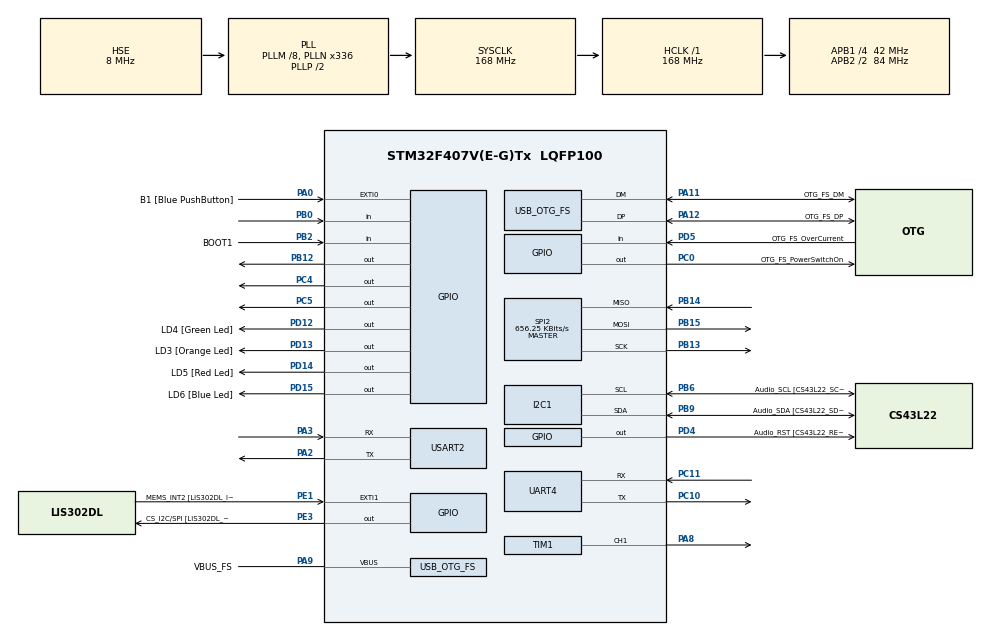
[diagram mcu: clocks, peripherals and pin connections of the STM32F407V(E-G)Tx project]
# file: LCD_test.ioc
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Dma.Request0=SPI2_TX
Dma.SPI2_TX.0.Direction=DMA_MEMORY_TO_PERIPH
Dma.SPI2_TX.0.FIFOMode=DMA_FIFOMODE_DISABLE
Dma.SPI2_TX.0.Instance=DMA1_Stream4
Dma.SPI2_TX.0.MemDataAlignment=DMA_MDATAALIGN_BYTE
Dma.SPI2_TX.0.MemInc=DMA_MINC_ENABLE
Dma.SPI2_TX.0.Mode=DMA_NORMAL
Dma.SPI2_TX.0.PeriphDataAlignment=DMA_PDATAALIGN_BYTE
Dma.SPI2_TX.0.PeriphInc=DMA_PINC_DISABLE
Dma.SPI2_TX.0.Priority=DMA_PRIORITY_LOW
Mcu.Family=STM32F4
Mcu.Name=STM32F407V(E-G)Tx
Mcu.Package=LQFP100
NVIC.DMA1_Stream4_IRQn=true\:0\:0\:false\:false\:true\:false\:true\:true
NVIC.OTG_FS_IRQn=true\:0\:0\:false\:false\:true\:true\:true\:true
NVIC.PriorityGroup=NVIC_PRIORITYGROUP_0
NVIC.USART2_IRQn=true\:0\:0\:false\:false\:true\:true\:true\:true
PA0-WKUP.GPIO_Label=B1 [Blue PushButton]
PA0-WKUP.GPIO_ModeDefaultEXTI=GPIO_MODE_EVT_RISING
PA0-WKUP.GPIO_PuPd=GPIO_NOPULL
PA0-WKUP.Signal=GPXTI0
PA10.GPIO_Label=OTG_FS_ID
PA10.GPIO_Mode=GPIO_MODE_AF_PP
PA10.GPIO_PuPd=GPIO_NOPULL
PA10.GPIO_Speed=GPIO_SPEED_FREQ_LOW
PA10.Signal=USB_OTG_FS_ID
PA11.GPIO_Label=OTG_FS_DM
PA11.GPIO_Mode=GPIO_MODE_AF_PP
PA11.GPIO_PuPd=GPIO_NOPULL
PA11.GPIO_Speed=GPIO_SPEED_FREQ_LOW
PA11.Mode=Host_Only
PA11.Signal=USB_OTG_FS_DM
PA12.GPIO_Label=OTG_FS_DP
PA12.GPIO_Mode=GPIO_MODE_AF_PP
PA12.GPIO_PuPd=GPIO_NOPULL
PA12.GPIO_Speed=GPIO_SPEED_FREQ_LOW
PA12.Mode=Host_Only
PA12.Signal=USB_OTG_FS_DP
PA13.GPIO_Label=SWDIO
PA13.Mode=Serial_Wire
PA13.Signal=SYS_JTMS-SWDIO
PA14.GPIO_Label=SWCLK
PA14.Mode=Serial_Wire
PA14.Signal=SYS_JTCK-SWCLK
PA2.Mode=Asynchronous
PA2.Signal=USART2_TX
PA3.Mode=Asynchronous
PA3.Signal=USART2_RX
PA4.GPIO_Label=I2S3_WS [CS43L22_LRCK]
PA4.GPIO_Mode=GPIO_MODE_AF_PP
PA4.GPIO_PuPd=GPIO_NOPULL
PA4.GPIO_Speed=GPIO_SPEED_FREQ_LOW
PA4.Signal=I2S3_WS
PA5.GPIO_Label=SPI1_SCK [LIS302DL_SCL/SPC]
PA5.GPIO_Mode=GPIO_MODE_AF_PP
PA5.GPIO_PuPd=GPIO_NOPULL
PA5.GPIO_Speed=GPIO_SPEED_FREQ_LOW
PA5.Signal=SPI1_SCK
PA6.GPIO_Label=SPI1_MISO [LIS302DL_SDO]
PA6.GPIO_Mode=GPIO_MODE_AF_PP
PA6.GPIO_PuPd=GPIO_NOPULL
PA6.GPIO_Speed=GPIO_SPEED_FREQ_LOW
PA6.Signal=SPI1_MISO
PA7.GPIO_Label=SPI1_MOSI [LIS302DL_SDA/SDI/SDO]
PA7.GPIO_Mode=GPIO_MODE_AF_PP
PA7.GPIO_PuPd=GPIO_NOPULL
PA7.GPIO_Speed=GPIO_SPEED_FREQ_LOW
PA7.Signal=SPI1_MOSI
PA8.Signal=S_TIM1_CH1
PA9.GPIO_Label=VBUS_FS
PA9.GPIO_Mode=GPIO_MODE_INPUT
PA9.GPIO_PuPd=GPIO_NOPULL
PA9.Mode=Activate_VBUS
PA9.Signal=USB_OTG_FS_VBUS
PB0.Signal=GPIO_Input
PB12.GPIO_Speed=GPIO_SPEED_FREQ_HIGH
PB12.PinState=GPIO_PIN_RESET
PB12.Signal=GPIO_Output
PB13.Mode=Full_Duplex_Master
PB13.Signal=SPI2_SCK
PB14.Mode=Full_Duplex_Master
PB14.Signal=SPI2_MISO
PB15.Mode=Full_Duplex_Master
PB15.Signal=SPI2_MOSI
PB2.GPIO_Label=BOOT1
PB2.GPIO_Mode=GPIO_MODE_INPUT
PB2.GPIO_PuPd=GPIO_NOPULL
PB2.Signal=GPIO_Input
PB3.GPIO_Label=SWO
PB3.Signal=SYS_JTDO-SWO
PB6.GPIO_Label=Audio_SCL [CS43L22_SCL]
PB6.GPIO_Mode=GPIO_MODE_AF_OD
PB6.GPIO_Pu=GPIO_PULLUP
PB6.GPIO_PuPd=GPIO_NOPULL
PB6.GPIO_Speed=GPIO_SPEED_FREQ_LOW
PB6.Mode=I2C
PB6.Signal=I2C1_SCL
PB9.GPIO_Label=Audio_SDA [CS43L22_SDA]
PB9.GPIO_Mode=GPIO_MODE_AF_OD
PB9.GPIO_Pu=GPIO_PULLUP
PB9.GPIO_PuPd=GPIO_NOPULL
PB9.GPIO_Speed=GPIO_SPEED_FREQ_LOW
PB9.Mode=I2C
PB9.Signal=I2C1_SDA
PC0.GPIO_Label=OTG_FS_PowerSwitchOn
PC0.GPIO_PuPd=GPIO_NOPULL
PC0.GPIO_Speed=GPIO_SPEED_FREQ_LOW
PC0.PinState=GPIO_PIN_SET
PC0.Signal=GPIO_Output
PC10.Mode=Asynchronous
PC10.Signal=UART4_TX
PC11.Mode=Asynchronous
PC11.Signal=UART4_RX
PC12.GPIO_Label=I2S3_SD [CS43L22_SDIN]
PC12.GPIO_Mode=GPIO_MODE_AF_PP
PC12.GPIO_PuPd=GPIO_NOPULL
PC12.GPIO_Speed=GPIO_SPEED_FREQ_LOW
PC12.Signal=I2S3_SD
PC14-OSC32_IN.GPIO_Label=PC14-OSC32_IN
PC14-OSC32_IN.Signal=RCC_OSC32_IN
PC15-OSC32_OUT.GPIO_Label=PC15-OSC32_OUT
PC15-OSC32_OUT.Signal=RCC_OSC32_OUT
PC4.GPIO_Speed=GPIO_SPEED_FREQ_LOW
PC4.PinState=GPIO_PIN_RESET
PC4.Signal=GPIO_Output
PC5.GPIO_Speed=GPIO_SPEED_FREQ_HIGH
PC5.PinState=GPIO_PIN_RESET
PC5.Signal=GPIO_Output
PC7.GPIO_Label=I2S3_MCK [CS43L22_MCLK]
PC7.GPIO_Mode=GPIO_MODE_AF_PP
PC7.GPIO_PuPd=GPIO_NOPULL
PC7.GPIO_Speed=GPIO_SPEED_FREQ_LOW
PC7.Signal=I2S3_MCK
PD12.GPIO_Label=LD4 [Green Led]
PD12.GPIO_PuPd=GPIO_NOPULL
PD12.GPIO_Speed=GPIO_SPEED_FREQ_LOW
PD12.Signal=GPIO_Output
PD13.GPIO_Label=LD3 [Orange Led]
PD13.GPIO_PuPd=GPIO_NOPULL
PD13.GPIO_Speed=GPIO_SPEED_FREQ_LOW
PD13.Signal=GPIO_Output
PD14.GPIO_Label=LD5 [Red Led]
PD14.GPIO_PuPd=GPIO_NOPULL
PD14.GPIO_Speed=GPIO_SPEED_FREQ_LOW
PD14.Signal=GPIO_Output
PD15.GPIO_Label=LD6 [Blue Led]
PD15.GPIO_PuPd=GPIO_NOPULL
PD15.GPIO_Speed=GPIO_SPEED_FREQ_LOW
PD15.Signal=GPIO_Output
PD4.GPIO_Label=Audio_RST [CS43L22_RESET]
PD4.GPIO_PuPd=GPIO_NOPULL
PD4.GPIO_Speed=GPIO_SPEED_FREQ_LOW
PD4.Signal=GPIO_Output
PD5.GPIO_Label=OTG_FS_OverCurrent
PD5.GPIO_Mode=GPIO_MODE_INPUT
PD5.GPIO_PuPd=GPIO_NOPULL
PD5.Signal=GPIO_Input
PE1.GPIO_Label=MEMS_INT2 [LIS302DL_INT2]
PE1.GPIO_ModeDefaultEXTI=GPIO_MODE_EVT_RISING
PE1.GPIO_PuPd=GPIO_NOPULL
PE1.Signal=GPXTI1
PE3.GPIO_Label=CS_I2C/SPI [LIS302DL_CS_I2C/SPI]
PE3.GPIO_PuPd=GPIO_NOPULL
PE3.GPIO_Speed=GPIO_SPEED_FREQ_LOW
PE3.Signal=GPIO_Output
PH0-OSC_IN.GPIO_Label=PH0-OSC_IN
PH0-OSC_IN.Mode=HSE-External-Clock-Source
PH0-OSC_IN.Signal=RCC_OSC_IN
PH1-OSC_OUT.GPIO_Label=PH1-OSC_OUT
PH1-OSC_OUT.Mode=HSE-External-Clock-Source
PH1-OSC_OUT.Signal=RCC_OSC_OUT
ProjectManager.HeapSize=0x200
ProjectManager.StackSize=0x400
ProjectManager.TargetToolchain=Makefile
RCC.48MHZClocksFreq_Value=48000000
RCC.AHBFreq_Value=168000000
RCC.APB1CLKDivider=RCC_HCLK_DIV4
RCC.APB1Freq_Value=42000000
RCC.APB1TimFreq_Value=84000000
RCC.APB2CLKDivider=RCC_HCLK_DIV2
RCC.APB2Freq_Value=84000000
RCC.APB2TimFreq_Value=168000000
RCC.CortexFreq_Value=168000000
RCC.HCLKFreq_Value=168000000
RCC.HSE_VALUE=8000000
RCC.HSI_VALUE=16000000
RCC.LSE_VALUE=32768
RCC.PLLM=8
RCC.PLLN=336
RCC.PLLQ=7
RCC.SYSCLKFreq_VALUE=168000000
RCC.SYSCLKSource=RCC_SYSCLKSOURCE_PLLCLK
RCC.VCOOutputFreq_Value=336000000
SH.S_TIM1_CH1.0=TIM1_CH1,PWM Generation1 CH1
SPI2.BaudRatePrescaler=SPI_BAUDRATEPRESCALER_64
SPI2.CLKPhase=SPI_PHASE_2EDGE
SPI2.CLKPolarity=SPI_POLARITY_HIGH
SPI2.CalculateBaudRate=656.25 KBits/s
SPI2.Direction=SPI_DIRECTION_2LINES
SPI2.Mode=SPI_MODE_MASTER
SPI2.VirtualType=VM_MASTER
TIM1.Channel-PWM\ Generation1\ CH1=TIM_CHANNEL_1
TIM1.Period=52
TIM1.Prescaler=83
TIM1.Pulse-PWM\ Generation1\ CH1=26
UART4.VirtualMode=Asynchronous
USART2.VirtualMode=VM_ASYNC
USB_HOST.BSP.number=1
USB_HOST.USBH_HandleTypeDef-CDC_FS=hUsbHostFS
USB_HOST.VirtualModeFS=Cdc
USB_HOST0.BSP.STBoard=false
USB_HOST0.BSP.api=Unknown
USB_HOST0.BSP.instance=PC0
USB_HOST0.BSP.ip=GPIO
USB_HOST0.BSP.mode=Output
USB_HOST0.BSP.name=Drive_VBUS_FS
USB_HOST0.BSP.solution=PC0
USB_OTG_FS.VirtualMode=Host_Only
USB_OTG_FS.phy_itface=HCD_PHY_EMBEDDED
VP_TIM1_VS_ClockSourceINT.Mode=Internal
VP_USB_HOST_VS_USB_HOST_CDC_FS.Mode=CDC_FS
board=STM32F407G-DISC1

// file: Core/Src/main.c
/* USER CODE BEGIN Header */
/**
  ******************************************************************************
  * @file           : main.c
  * @brief          : Main program body
  ******************************************************************************
  * @attention
  *
  * Copyright (c) 2026 STMicroelectronics.
  * All rights reserved.
  *
  * This software is licensed under terms that can be found in the LICENSE file
  * in the root directory of this software component.
  * If no LICENSE file comes with this software, it is provided AS-IS.
  *
  ******************************************************************************
  */
/* USER CODE END Header */
#include "main.h"
#include "dma.h"
#include "i2c.h"
#include "spi.h"
#include "tim.h"
#include "usart.h"
#include "usb_host.h"
#include "gpio.h"

/* USER CODE BEGIN Includes */
#include "ili9341.h"
#include "lcd.h"
/* USER CODE END Includes */

/* USER CODE BEGIN PD */
/* ===== NEC timing ===== */
#define IR_START_ON_US             9000U
#define IR_START_OFF_US            4500U
#define IR_BIT_MARK_US             562U
#define IR_ZERO_SPACE_US           562U
#define IR_ONE_SPACE_US            1687U
#define IR_STOP_MARK_US            562U

/* ===== Send strategy ===== */
#define IR_SAFE_CONFIRM_TX_COUNT   3U
#define IR_SAFE_BURST_GAP_MS       120U
#define IR_EVENT_PERIOD_MS         150U
#define IR_ERROR_PERIOD_MS         300U
#define IR_MAIN_LOOP_DELAY_MS      5U

#define IR_PWM_DUTY                26U

/* ===== Event type ===== */
#define IR_TYPE_NONE               0x00U
#define IR_TYPE_VRU_CROSS          0x01U
#define IR_TYPE_BRAKE              0x02U
#define IR_TYPE_OBSTACLE           0x03U
#define IR_TYPE_ACCIDENT           0x04U
#define IR_TYPE_LANE               0x05U
#define IR_TYPE_RESERVED           0x06U
#define IR_TYPE_ERROR              0x07U

/* ===== Warning level ===== */
#define IR_LEVEL_NONE              0x00U
#define IR_LEVEL_1                 0x01U
#define IR_LEVEL_2                 0x02U
#define IR_LEVEL_3                 0x03U
/* ===== Nano -> STM32 UART packet =====
 * Packet format: [0xAA][event code]
 */
#define NANO_PACKET_HEADER         0xAAU
#define NANO_EVENT_STOPPED         0x00U
#define NANO_EVENT_NO_WARNING      0x10U
#define NANO_EVENT_LEVEL_1         0x11U
#define NANO_EVENT_LEVEL_2         0x12U
#define NANO_EVENT_LEVEL_3         0x13U

/* USER CODE END PD */

/* USER CODE BEGIN PV */
static uint8_t current_event_type = IR_TYPE_NONE;
static uint8_t current_level = IR_LEVEL_NONE;

static uint8_t safe_tx_remaining = 0U;

static uint32_t last_send_tick = 0U;
static uint8_t force_send_now = 0U;

/* 避免相同事件重複刷新 LCD */
static uint8_t lcd_last_event_type = 0xFFU;
static uint8_t lcd_last_level = 0xFFU;
/* USART2 每次以中斷接收 Nano 的一個 Byte */
static uint8_t nano_rx_byte = 0U;

/*
 * nano_rx_state：
 * 0 = 等待 0xAA
 * 1 = 等待事件碼
 */
static volatile uint8_t nano_rx_state = 0U;

/* 收到的事件碼 */
static volatile uint8_t nano_pending_code = 0U;

/* 完整封包已收到 */
static volatile uint8_t nano_packet_ready = 0U;

/* 避免相同事件重複呼叫 Set_Event() */
static uint8_t nano_last_applied_code = 0xFFU;

/* USER CODE END PV */

void SystemClock_Config(void);
void MX_USB_HOST_Process(void);

/* USER CODE BEGIN PFP */
static void UART_Print(const char *msg);

static void DWT_Delay_Init(void);
static void delay_us(uint32_t us);

static void IR_CarrierOn(void);
static void IR_CarrierOff(void);
static void IR_SendStart(void);
static void IR_SendBit(uint8_t bitValue);
static void IR_SendStop(void);
static uint8_t IR_MakePayload(uint8_t event_type, uint8_t level);
static void IR_SendPayload8(uint8_t payload);
static void IR_SendCurrentEvent(void);
static void IR_Process(void);

static void LCD_UpdateEvent(uint8_t event_type, uint8_t level);

static void Set_Event(uint8_t event_type, uint8_t level);

static void Nano_UART_StartReceive(void);
static void Nano_ProcessPendingPacket(void);
/* USER CODE END PFP */

/* USER CODE BEGIN 0 */
static void UART_Print(const char *msg)
{
  uint16_t len = 0U;

  while (msg[len] != '\0')
  {
    len++;
  }

  HAL_UART_Transmit(&huart4,
                    (uint8_t *)msg,
                    len,
                    HAL_MAX_DELAY);
}

/*
 * STM32F407 Cortex-M4 DWT 微秒延遲。
 * NEC 時序需要 us 等級，不能使用 HAL_Delay() 取代。
 */
static void DWT_Delay_Init(void)
{
  CoreDebug->DEMCR |= CoreDebug_DEMCR_TRCENA_Msk;

  DWT->CYCCNT = 0U;
  DWT->CTRL |= DWT_CTRL_CYCCNTENA_Msk;
}

static void delay_us(uint32_t us)
{
  uint32_t start_tick;
  uint32_t delay_ticks;

  start_tick = DWT->CYCCNT;
  delay_ticks = us * (SystemCoreClock / 1000000U);

  while ((DWT->CYCCNT - start_tick) < delay_ticks)
  {
  }
}

/* PA8 / TIM1_CH1 38 kHz carrier */
static void IR_CarrierOn(void)
{
  __HAL_TIM_SET_COMPARE(&htim1,
                        TIM_CHANNEL_1,
                        IR_PWM_DUTY);
}

static void IR_CarrierOff(void)
{
  __HAL_TIM_SET_COMPARE(&htim1,
                        TIM_CHANNEL_1,
                        0U);
}

static void IR_SendStart(void)
{
  IR_CarrierOn();
  delay_us(IR_START_ON_US);

  IR_CarrierOff();
  delay_us(IR_START_OFF_US);
}

static void IR_SendBit(uint8_t bitValue)
{
  IR_CarrierOn();
  delay_us(IR_BIT_MARK_US);

  IR_CarrierOff();

  if (bitValue != 0U)
  {
    delay_us(IR_ONE_SPACE_US);
  }
  else
  {
    delay_us(IR_ZERO_SPACE_US);
  }
}

static void IR_SendStop(void)
{
  IR_CarrierOn();
  delay_us(IR_STOP_MARK_US);

  IR_CarrierOff();
}
static void LCD_UpdateEvent(uint8_t event_type, uint8_t level)
{
  /*
   * 狀態相同就不重新繪圖，避免 LCD 閃爍。
   */
  if ((lcd_last_event_type == event_type) &&
      (lcd_last_level == level))
  {
    return;
  }

  lcd_last_event_type = event_type;
  lcd_last_level = level;

  if (event_type == IR_TYPE_ERROR)
  {
    LCD_ShowSystemErrorScreen();
  }
  else if ((event_type == IR_TYPE_NONE) &&
           (level == IR_LEVEL_NONE))
  {
    LCD_ShowSafeScreen();
  }
  else if ((event_type == IR_TYPE_VRU_CROSS) &&
           (level == IR_LEVEL_1))
  {
    LCD_ShowLevel1Screen();
  }
  else if ((event_type == IR_TYPE_VRU_CROSS) &&
           (level == IR_LEVEL_2))
  {
    LCD_ShowLevel2Screen();
  }
  else if ((event_type == IR_TYPE_VRU_CROSS) &&
           (level == IR_LEVEL_3))
  {
    LCD_ShowLevel3Screen();
  }
  else
  {
    LCD_ShowSystemErrorScreen();
  }
}
/*
 * Payload：
 *
 * TTT LL CCC
 *
 * TTT：event type
 * LL ：warning level
 * CCC：TTT XOR 0LL
 */
static uint8_t IR_MakePayload(uint8_t event_type,
                              uint8_t level)
{
  uint8_t ttt;
  uint8_t ll;
  uint8_t ccc;

  ttt = event_type & 0x07U;
  ll = level & 0x03U;
  ccc = (ttt ^ ll) & 0x07U;

  return (uint8_t)((ttt << 5) |
                   (ll << 3) |
                   ccc);
}

/* MSB first */
static void IR_SendPayload8(uint8_t payload)
{
  int8_t i;

  for (i = 7; i >= 0; i--)
  {
    IR_SendBit((payload >> i) & 0x01U);
  }
}

static void IR_SendCurrentEvent(void)
{
  uint8_t payload;

  payload = IR_MakePayload(current_event_type,
                           current_level);

  IR_SendStart();
  IR_SendPayload8(payload);
  IR_SendStop();

  IR_CarrierOff();
}
static void Set_Event(uint8_t event_type, uint8_t level)
{
  /*
   * 儲存目前事件。
   * LCD 與紅外線發送都使用這兩個狀態。
   */
  current_event_type = event_type;
  current_level = level;

  /*
   * 收到新事件後，下一輪立即發送，
   * 不必先等待 150 ms。
   */
  force_send_now = 1U;
  last_send_tick = HAL_GetTick();

  if ((event_type == IR_TYPE_NONE) &&
      (level == IR_LEVEL_NONE))
  {
    /*
     * SAFE 只送三次，
     * 三次結束後停止紅外線。
     */
    safe_tx_remaining = IR_SAFE_CONFIRM_TX_COUNT;
  }
  else
  {
    /*
     * Level 1、2、3 或 Error
     * 由 IR_Process() 持續發送。
     */
    safe_tx_remaining = 0U;
  }

  /*
   * 使用同一事件切換組員做好的 LCD 畫面。
   */
  LCD_UpdateEvent(event_type, level);
}
static void Nano_UART_StartReceive(void)
{
  nano_rx_state = 0U;
  nano_packet_ready = 0U;

  if (HAL_UART_Receive_IT(&huart2,
                          &nano_rx_byte,
                          1U) != HAL_OK)
  {
    Error_Handler();
  }
}
static void Nano_ProcessPendingPacket(void)
{
  uint8_t event_code;

  /*
   * 中斷只負責收資料。
   * LCD 和紅外線相關函式放在主迴圈執行。
   */
  if (nano_packet_ready == 0U)
  {
    return;
  }

  __disable_irq();

  event_code = nano_pending_code;
  nano_packet_ready = 0U;

  __enable_irq();

  /*
   * 相同事件不重複呼叫 Set_Event()。
   */
  if (event_code == nano_last_applied_code)
  {
    return;
  }

  switch (event_code)
  {
    case NANO_EVENT_STOPPED:
      Set_Event(IR_TYPE_NONE,
                IR_LEVEL_NONE);

      nano_last_applied_code = event_code;

      UART_Print(
          "NANO AA 00: STOPPED / NO WARNING\r\n"
      );
      break;

    case NANO_EVENT_NO_WARNING:
      Set_Event(IR_TYPE_NONE,
                IR_LEVEL_NONE);

      nano_last_applied_code = event_code;

      UART_Print(
          "NANO AA 10: NO WARNING\r\n"
      );
      break;

    case NANO_EVENT_LEVEL_1:
      Set_Event(IR_TYPE_VRU_CROSS,
                IR_LEVEL_1);

      nano_last_applied_code = event_code;

      UART_Print(
          "NANO AA 11: VRU LEVEL 1\r\n"
      );
      break;

    case NANO_EVENT_LEVEL_2:
      Set_Event(IR_TYPE_VRU_CROSS,
                IR_LEVEL_2);

      nano_last_applied_code = event_code;

      UART_Print(
          "NANO AA 12: VRU LEVEL 2\r\n"
      );
      break;

    case NANO_EVENT_LEVEL_3:
      Set_Event(IR_TYPE_VRU_CROSS,
                IR_LEVEL_3);

      nano_last_applied_code = event_code;

      UART_Print(
          "NANO AA 13: VRU LEVEL 3\r\n"
      );
      break;

    default:
      /*
       * 未定義的資料直接忽略，
       * 不轉成紅外線事件。
       */
      UART_Print(
          "NANO: INVALID EVENT CODE\r\n"
      );
      break;
  }
}
static void IR_Process(void)
{
  uint32_t now;
  uint32_t period_ms;

  now = HAL_GetTick();

  /*
   * SAFE 狀態：
   * 送三次 00000000 後停止。
   */
  if ((current_event_type == IR_TYPE_NONE) &&
      (current_level == IR_LEVEL_NONE))
  {
    if (safe_tx_remaining > 0U)
    {
      if ((force_send_now != 0U) ||
          ((now - last_send_tick) >= IR_SAFE_BURST_GAP_MS))
      {
        IR_SendCurrentEvent();

        safe_tx_remaining--;
        last_send_tick = now;
        force_send_now = 0U;

        UART_Print("TX SAFE 00000000\r\n");

        if (safe_tx_remaining == 0U)
        {
          UART_Print("SAFE finished, IR OFF\r\n");
        }
      }
    }
    else
    {
      /*
       * SAFE 三次發送完成後，保持紅外線關閉。
       */
      IR_CarrierOff();
      force_send_now = 0U;
    }

    return;
  }

  /*
   * 系統錯誤每 300 ms 發送一次；
   * 一般事件每 150 ms 發送一次。
   */
  if (current_event_type == IR_TYPE_ERROR)
  {
    period_ms = IR_ERROR_PERIOD_MS;
  }
  else
  {
    period_ms = IR_EVENT_PERIOD_MS;
  }

  if ((force_send_now != 0U) ||
      ((now - last_send_tick) >= period_ms))
  {
    IR_SendCurrentEvent();

    last_send_tick = now;
    force_send_now = 0U;
  }
}

/* USER CODE END 0 */

int main(void)
{

  /* MCU Configuration--------------------------------------------------------*/

  /* Reset of all peripherals, Initializes the Flash interface and the Systick. */
  HAL_Init();

  /* Configure the system clock */
  SystemClock_Config();

  /* Initialize all configured peripherals */
  MX_GPIO_Init();
  MX_DMA_Init();
  MX_I2C1_Init();
  MX_SPI2_Init();
  MX_TIM1_Init();
  MX_UART4_Init();
  MX_USART2_UART_Init();
  MX_USB_HOST_Init();
  /* USER CODE BEGIN 2 */
  static const char boot_msg[] = "UART4 BOOT TEST\r\n";

HAL_UART_Transmit(&huart4,
                  (uint8_t *)boot_msg,
                  sizeof(boot_msg) - 1U,
                  1000U);

/*
 * 等待 LCD 電源及控制器穩定。
 */
HAL_Delay(1000);

ILI9341_Init();
HAL_Delay(100);

/*
 * 初始化 DWT 微秒延遲。
 * NEC 紅外線時序需要 us 等級延遲。
 */
DWT_Delay_Init();

/*
 * 啟動 TIM1 Channel 1 PWM。
 */
if (HAL_TIM_PWM_Start(&htim1,
                      TIM_CHANNEL_1) != HAL_OK)
{
  Error_Handler();
}

/*
 * 開機預設先關閉紅外線載波。
 */
IR_CarrierOff();

/*
 * 開機初始狀態設定為 SAFE。
 * 這裡會同時：
 * 1. 顯示組員做好的安全畫面
 * 2. 準備發送三次 SAFE 封包
 */
Set_Event(IR_TYPE_NONE,
          IR_LEVEL_NONE);
          /*
 * 啟動 USART2 接收 Nano。
 * UART4 保留作為電腦除錯輸出。
 */
Nano_UART_StartReceive();

UART_Print("\r\nLCD + IR TX Ready\r\n");

UART_Print(
    "USART2 waiting for Nano packets: "
    "AA 00/10/11/12/13\r\n"
);

  /* USER CODE END 2 */

  /* Infinite loop */
  while (1)
{
    MX_USB_HOST_Process();

    /* USER CODE BEGIN 3 */

  /*
   * 檢查 UART4 是否收到 0、1、2、3、E。
   */
  Nano_ProcessPendingPacket();

  IR_Process();

  /*
   * 避免主迴圈跑得過快。
   */
  HAL_Delay(IR_MAIN_LOOP_DELAY_MS);
  }
  /* USER CODE END 3 */
}

void SystemClock_Config(void)
{
  RCC_OscInitTypeDef RCC_OscInitStruct = {0};
  RCC_ClkInitTypeDef RCC_ClkInitStruct = {0};

  /** Configure the main internal regulator output voltage
  */
  __HAL_RCC_PWR_CLK_ENABLE();
  __HAL_PWR_VOLTAGESCALING_CONFIG(PWR_REGULATOR_VOLTAGE_SCALE1);

  /** Initializes the RCC Oscillators according to the specified parameters
  * in the RCC_OscInitTypeDef structure.
  */
  RCC_OscInitStruct.OscillatorType = RCC_OSCILLATORTYPE_HSE;
  RCC_OscInitStruct.HSEState = RCC_HSE_BYPASS;
  RCC_OscInitStruct.PLL.PLLState = RCC_PLL_ON;
  RCC_OscInitStruct.PLL.PLLSource = RCC_PLLSOURCE_HSE;
  RCC_OscInitStruct.PLL.PLLM = 8;
  RCC_OscInitStruct.PLL.PLLN = 336;
  RCC_OscInitStruct.PLL.PLLP = RCC_PLLP_DIV2;
  RCC_OscInitStruct.PLL.PLLQ = 7;
  if (HAL_RCC_OscConfig(&RCC_OscInitStruct) != HAL_OK)
  {
    Error_Handler();
  }

  /** Initializes the CPU, AHB and APB buses clocks
  */
  RCC_ClkInitStruct.ClockType = RCC_CLOCKTYPE_HCLK|RCC_CLOCKTYPE_SYSCLK
                              |RCC_CLOCKTYPE_PCLK1|RCC_CLOCKTYPE_PCLK2;
  RCC_ClkInitStruct.SYSCLKSource = RCC_SYSCLKSOURCE_PLLCLK;
  RCC_ClkInitStruct.AHBCLKDivider = RCC_SYSCLK_DIV1;
  RCC_ClkInitStruct.APB1CLKDivider = RCC_HCLK_DIV4;
  RCC_ClkInitStruct.APB2CLKDivider = RCC_HCLK_DIV2;

  if (HAL_RCC_ClockConfig(&RCC_ClkInitStruct, FLASH_LATENCY_5) != HAL_OK)
  {
    Error_Handler();
  }
}

/* USER CODE BEGIN 4 */
void HAL_UART_RxCpltCallback(UART_HandleTypeDef *huart)
{
  if (huart->Instance == USART2)
  {
    if (nano_rx_state == 0U)
    {
      /*
       * 第一階段：等待封包表頭 0xAA。
       */
      if (nano_rx_byte == NANO_PACKET_HEADER)
      {
        nano_rx_state = 1U;
      }
    }
    else
    {
      /*
       * 若再次收到 0xAA，
       * 視為新的封包表頭，維持同步。
       */
      if (nano_rx_byte == NANO_PACKET_HEADER)
      {
        nano_rx_state = 1U;
      }
      else
      {
        /*
         * 第二個 Byte 是事件碼。
         */
        nano_pending_code = nano_rx_byte;
        nano_packet_ready = 1U;
        nano_rx_state = 0U;
      }
    }

    /*
     * 重新啟動下一個 Byte 的接收。
     */
    (void)HAL_UART_Receive_IT(&huart2,
                              &nano_rx_byte,
                              1U);
  }
}
void HAL_UART_ErrorCallback(UART_HandleTypeDef *huart)
{
  if (huart->Instance == USART2)
  {
    /*
     * 放棄未完成封包，重新等待 0xAA。
     */
    nano_rx_state = 0U;
    nano_packet_ready = 0U;

    (void)HAL_UART_Receive_IT(&huart2,
                              &nano_rx_byte,
                              1U);
  }
}

/* USER CODE END 4 */

void Error_Handler(void)
{
  __disable_irq();
  while (1)
  {
  }
}
